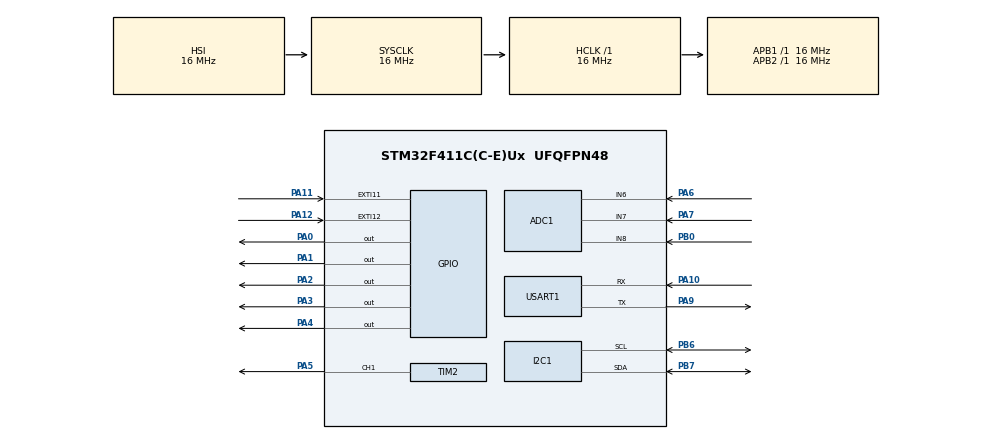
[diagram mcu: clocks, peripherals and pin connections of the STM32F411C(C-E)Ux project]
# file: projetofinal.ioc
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ADC1.Channel-0\#ChannelRegularConversion=ADC_CHANNEL_6
ADC1.Channel-1\#ChannelRegularConversion=ADC_CHANNEL_6
ADC1.Channel-2\#ChannelRegularConversion=ADC_CHANNEL_6
ADC1.ContinuousConvMode=ENABLE
ADC1.NbrOfConversion=3
ADC1.NbrOfConversionFlag=1
ADC1.Rank-0\#ChannelRegularConversion=1
ADC1.Rank-1\#ChannelRegularConversion=2
ADC1.Rank-2\#ChannelRegularConversion=3
ADC1.SamplingTime-0\#ChannelRegularConversion=ADC_SAMPLETIME_3CYCLES
ADC1.SamplingTime-1\#ChannelRegularConversion=ADC_SAMPLETIME_3CYCLES
ADC1.SamplingTime-2\#ChannelRegularConversion=ADC_SAMPLETIME_3CYCLES
ADC1.ScanConvMode=ENABLE
ADC1.master=1
Mcu.Family=STM32F4
Mcu.Name=STM32F411C(C-E)Ux
Mcu.Package=UFQFPN48
NVIC.EXTI15_10_IRQn=true\:0\:0\:false\:false\:true\:true\:true\:true
NVIC.PriorityGroup=NVIC_PRIORITYGROUP_4
PA0-WKUP.Signal=GPIO_Output
PA1.Signal=GPIO_Output
PA10.Mode=Asynchronous
PA10.Signal=USART1_RX
PA11.GPIO_PuPd=GPIO_PULLUP
PA11.Signal=GPXTI11
PA12.GPIO_PuPd=GPIO_PULLUP
PA12.Signal=GPXTI12
PA13.Mode=Serial_Wire
PA13.Signal=SYS_JTMS-SWDIO
PA14.Mode=Serial_Wire
PA14.Signal=SYS_JTCK-SWCLK
PA2.Signal=GPIO_Output
PA3.Signal=GPIO_Output
PA4.Signal=GPIO_Output
PA5.Signal=S_TIM2_CH1_ETR
PA6.Signal=ADCx_IN6
PA7.Signal=ADCx_IN7
PA9.Mode=Asynchronous
PA9.Signal=USART1_TX
PB0.Signal=ADCx_IN8
PB6.Mode=I2C
PB6.Signal=I2C1_SCL
PB7.Mode=I2C
PB7.Signal=I2C1_SDA
PH0\ -\ OSC_IN.Mode=HSE-External-Clock-Source
PH0\ -\ OSC_IN.Signal=RCC_OSC_IN
PH1\ -\ OSC_OUT.Mode=HSE-External-Clock-Source
PH1\ -\ OSC_OUT.Signal=RCC_OSC_OUT
ProjectManager.HeapSize=0x200
ProjectManager.StackSize=0x400
ProjectManager.TargetToolchain=STM32CubeIDE
RCC.AHBFreq_Value=16000000
RCC.APB1Freq_Value=16000000
RCC.APB2Freq_Value=16000000
RCC.CortexFreq_Value=16000000
RCC.HSE_VALUE=25000000
RCC.HSI_VALUE=16000000
RCC.LSE_VALUE=32768
RCC.SYSCLKFreq_VALUE=16000000
RCC.VCOOutputFreq_Value=192000000
SH.ADCx_IN6.0=ADC1_IN6,IN6
SH.ADCx_IN7.0=ADC1_IN7,IN7
SH.ADCx_IN8.0=ADC1_IN8,IN8
SH.S_TIM2_CH1_ETR.0=TIM2_CH1,PWM Generation1 CH1
TIM2.Channel-PWM\ Generation1\ CH1=TIM_CHANNEL_1
TIM2.Period=999
TIM2.Prescaler=83
USART1.VirtualMode=VM_ASYNC
board=custom

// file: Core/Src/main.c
/* USER CODE BEGIN Header */
/**
  ******************************************************************************
  * @file           : main.c
  * @brief          : Main program body
  ******************************************************************************
  * @attention
  *
  * Copyright (c) 2025 STMicroelectronics.
  * All rights reserved.
  *
  * This software is licensed under terms that can be found in the LICENSE file
  * in the root directory of this software component.
  * If no LICENSE file comes with this software, it is provided AS-IS.
  *
  ******************************************************************************
  */
/* USER CODE END Header */
#include "main.h"

/* USER CODE BEGIN Includes */

#include <stdio.h>
#include <string.h>

// Definição dos LEDs (Ajustado para o hardware configurado PA0-PA4)
#define LED_TEMP_ALTA    GPIO_PIN_0
#define LED_TEMP_BAIXA   GPIO_PIN_1
#define LED_COMPRESSOR   GPIO_PIN_2
#define LED_NORMAL       GPIO_PIN_3
#define LED_ERRO         GPIO_PIN_4

/* USER CODE END Includes */

ADC_HandleTypeDef hadc1;

I2C_HandleTypeDef hi2c1;

TIM_HandleTypeDef htim2;

UART_HandleTypeDef huart1;

/* USER CODE BEGIN PV */

typedef enum {
    ST_EMESPERA, ST_LENDO, ST_PROCESSANDO, ST_CONTROLE,
    ST_DISPLAY, ST_PROTECAO, ST_MENU, ST_EXIBIR_CELSIUS,
    ST_EXIBIR_FAHRENHEIT, ST_EXIBIR_KELVIN, ST_ZERAR_TEMP, ST_ERRO
} state_t;

state_t estado_atual = ST_EMESPERA;

float tensao1, tensao2, tensao3;
float temperatura_realc, temperatura_idealc, gap_temperaturac;
float temperaturaidealk, temperatura_idealf;
float offset_temperatura = 0.0;

uint32_t adc1, adc2, adc3;
uint8_t opcao_menu = 0;
uint8_t tela_atual = 0;
uint8_t compressor_ligado = 0;
uint16_t pwm_compressor = 0;
uint8_t unidade_temperatura = 0;  // 0=Celsius, 1=Fahrenheit, 2=Kelvin

uint32_t timer1 = 0;
uint32_t timer2 = 0;

/* USER CODE END PV */

void SystemClock_Config(void);
static void MX_GPIO_Init(void);
static void MX_ADC1_Init(void);
static void MX_TIM2_Init(void);
static void MX_USART1_UART_Init(void);
static void MX_I2C1_Init(void);

/* USER CODE BEGIN 0 */

// Redireciona o printf para a porta serial (UART)
int __io_putchar(int ch) {
    HAL_UART_Transmit(&huart1, (uint8_t *)&ch, 1, 10);
    return ch;
}

// ========== FUNÇÕES DO LCD ==========
void lcd_send_cmd(char cmd)
{
    char data_u, data_l;
    uint8_t data_t[4];
    data_u = (cmd & 0xf0);
    data_l = ((cmd << 4) & 0xf0);
    data_t[0] = data_u | 0x0C;
    data_t[1] = data_u | 0x08;
    data_t[2] = data_l | 0x0C;
    data_t[3] = data_l | 0x08;
    HAL_I2C_Master_Transmit(&hi2c1, 0x4E, (uint8_t *)data_t, 4, 100);
}

void lcd_send_data(char data)
{
    char data_u, data_l;
    uint8_t data_t[4];
    data_u = (data & 0xf0);
    data_l = ((data << 4) & 0xf0);
    data_t[0] = data_u | 0x0D;
    data_t[1] = data_u | 0x09;
    data_t[2] = data_l | 0x0D;
    data_t[3] = data_l | 0x09;
    HAL_I2C_Master_Transmit(&hi2c1, 0x4E, (uint8_t *)data_t, 4, 100);
}

void lcd_init(void)
{
    HAL_Delay(50);
    lcd_send_cmd(0x30);
    HAL_Delay(5);
    lcd_send_cmd(0x30);
    HAL_Delay(1);
    lcd_send_cmd(0x30);
    HAL_Delay(10);
    lcd_send_cmd(0x20);
    HAL_Delay(10);
    lcd_send_cmd(0x28);
    HAL_Delay(1);
    lcd_send_cmd(0x08);
    HAL_Delay(1);
    lcd_send_cmd(0x01);
    HAL_Delay(1);
    HAL_Delay(1);
    lcd_send_cmd(0x06);
    HAL_Delay(1);
    lcd_send_cmd(0x0C);
}

void lcd_send_string(char *str)
{
    while (*str)
        lcd_send_data(*str++);
}

void lcd_clear(void)
{
    lcd_send_cmd(0x01);
    HAL_Delay(2);
}

void lcd_put_cur(int row, int col)
{
    switch (row)
    {
        case 0:
            col |= 0x80;
            break;
        case 1:
            col |= 0xC0;
            break;
    }
    lcd_send_cmd(col);
}

/* USER CODE END 0 */

int main(void)
{

  /* MCU Configuration--------------------------------------------------------*/

  /* Reset of all peripherals, Initializes the Flash interface and the Systick. */
  HAL_Init();

  /* USER CODE BEGIN Init */

  /* Configure the system clock */
  SystemClock_Config();

  /* Initialize all configured peripherals */
  MX_GPIO_Init();
  MX_ADC1_Init();
  MX_TIM2_Init();
  MX_USART1_UART_Init();
  MX_I2C1_Init();
  /* USER CODE BEGIN 2 */

  HAL_TIM_PWM_Start(&htim2, TIM_CHANNEL_1);
  printf("Sistema Iniciado...\n");

  lcd_init();
  lcd_clear();
  printf("LCD Inicializado!\n");

  /* USER CODE END 2 */

  /* Infinite loop */
  while (1)
  {

    /* USER CODE BEGIN 3 */

    // Incrementa temporizadores
    timer1++;
    timer2++;

    switch (estado_atual)
    {
        case ST_EMESPERA:
            estado_atual = ST_LENDO;
            break;

        case ST_LENDO:
            if (timer1 >= 50) {
                timer1 = 0;

                // --- Canal 6 (PA6) ---
                ADC_ChannelConfTypeDef sConfig = {0};
                sConfig.Rank = 1;
                sConfig.SamplingTime = ADC_SAMPLETIME_480CYCLES; // Tempo maior!
                sConfig.Channel = ADC_CHANNEL_6;
                HAL_ADC_ConfigChannel(&hadc1, &sConfig);

                HAL_ADC_Start(&hadc1);
                HAL_ADC_PollForConversion(&hadc1, 100);
                adc1 = HAL_ADC_GetValue(&hadc1);
                HAL_ADC_Stop(&hadc1);

                // --- Canal 7 (PA7) ---
                sConfig.Channel = ADC_CHANNEL_7;
                HAL_ADC_ConfigChannel(&hadc1, &sConfig); // Reconfigura para o próximo canal

                HAL_ADC_Start(&hadc1);
                HAL_ADC_PollForConversion(&hadc1, 100);
                adc2 = HAL_ADC_GetValue(&hadc1);
                HAL_ADC_Stop(&hadc1);

                // --- Canal 8 (PB0) ---
                sConfig.Channel = ADC_CHANNEL_8;
                HAL_ADC_ConfigChannel(&hadc1, &sConfig);

                HAL_ADC_Start(&hadc1);
                HAL_ADC_PollForConversion(&hadc1, 100);
                adc3 = HAL_ADC_GetValue(&hadc1);
                HAL_ADC_Stop(&hadc1);

                tensao1 = (float)adc1;
                tensao2 = (float)adc2;
                tensao3 = (float)adc3;
            }
            estado_atual = ST_PROCESSANDO;
            break;

        case ST_PROCESSANDO:
            // Conversão com lógica de calibração
            temperatura_realc   = (tensao1 / 4095.0) * 100.0 - offset_temperatura;
            temperatura_idealc  = (tensao2 / 4095.0) * 100.0;
            gap_temperaturac    = (tensao3 / 4095.0) * 100.0;

            temperatura_idealf  = (temperatura_idealc * 9.0/5.0) + 32.0;
            temperaturaidealk   = temperatura_idealc + 273.15;

            estado_atual = ST_CONTROLE;
            break;

        case ST_CONTROLE:
            HAL_GPIO_WritePin(GPIOA, LED_TEMP_ALTA, 0);
            HAL_GPIO_WritePin(GPIOA, LED_TEMP_BAIXA, 0);
            HAL_GPIO_WritePin(GPIOA, LED_COMPRESSOR, 0);
            HAL_GPIO_WritePin(GPIOA, LED_NORMAL, 0);
            HAL_GPIO_WritePin(GPIOA, LED_ERRO, 0);

            if (timer2 >= 50) // Loop de controle lento
            {
                timer2 = 0;
                if (temperatura_realc > temperatura_idealc + gap_temperaturac){
                    HAL_GPIO_WritePin(GPIOA, LED_TEMP_ALTA, 1);
                    HAL_GPIO_WritePin(GPIOA, LED_COMPRESSOR, 1);
                    pwm_compressor = 100;
                    compressor_ligado = 1;
                }
                else if (temperatura_realc < temperatura_idealc - gap_temperaturac){
                    HAL_GPIO_WritePin(GPIOA, LED_TEMP_BAIXA, 1);
                    pwm_compressor = 0;
                    compressor_ligado = 0;
                }
                else {
                    HAL_GPIO_WritePin(GPIOA, LED_NORMAL, 1);
                    float diferenca = temperatura_realc - temperatura_idealc;
                    if(diferenca < 0) diferenca = 0; // Proteção matemática
                    pwm_compressor = (uint16_t)((diferenca / (gap_temperaturac + 0.1)) * 100);
                    if (pwm_compressor > 100) pwm_compressor = 100;
                    compressor_ligado = (pwm_compressor > 10);
                }

                HAL_GPIO_WritePin(GPIOA, LED_COMPRESSOR, compressor_ligado ? 1 : 0);
                __HAL_TIM_SET_COMPARE(&htim2, TIM_CHANNEL_1, (pwm_compressor * 999) / 100);
            }
            estado_atual = ST_MENU;
            HAL_Delay(1);
            break;

        case ST_MENU:
            if (estado_atual == ST_MENU) estado_atual = ST_EXIBIR_CELSIUS;
            HAL_Delay(1);

            break;

        case ST_EXIBIR_CELSIUS:
        {
            // Converte floats para inteiros
            int temp_real_int, temp_ideal_int, gap_int, pwm_int;
            char lcd_buffer[16];
            char unidade_char[2] = "C";  // Padrão Celsius

            pwm_int = (int)pwm_compressor;

            // Seleciona a unidade e converte
            if (unidade_temperatura == 0) {
                // CELSIUS
                temp_real_int = (int)(temperatura_realc * 100);
                temp_ideal_int = (int)(temperatura_idealc * 100);
                gap_int = (int)(gap_temperaturac * 100);
                unidade_char[0] = 'C';
            }
            else if (unidade_temperatura == 1) {
                // FAHRENHEIT
                float temp_real_f = (temperatura_realc * 9.0/5.0) + 32.0;
                float temp_ideal_f = (temperatura_idealc * 9.0/5.0) + 32.0;
                float gap_f = (gap_temperaturac * 9.0/5.0);

                temp_real_int = (int)(temp_real_f * 100);
                temp_ideal_int = (int)(temp_ideal_f * 100);
                gap_int = (int)(gap_f * 100);
                unidade_char[0] = 'F';
            }
            else {  // unidade_temperatura == 2
                // KELVIN
                float temp_real_k = temperatura_realc + 273.15;
                float temp_ideal_k = temperatura_idealc + 273.15;
                float gap_k = gap_temperaturac;

                temp_real_int = (int)(temp_real_k * 100);
                temp_ideal_int = (int)(temp_ideal_k * 100);
                gap_int = (int)(gap_k * 100);
                unidade_char[0] = 'K';
            }

            // Exibe no LCD conforme a tela selecionada (tela_atual)
            if(tela_atual == 0) {
                lcd_clear();
                lcd_put_cur(0, 0);
                sprintf(lcd_buffer, "Real:%d.%02d%c", temp_real_int/100, temp_real_int%100, unidade_char[0]);
                lcd_send_string(lcd_buffer);

                lcd_put_cur(1, 0);
                sprintf(lcd_buffer, "Ideal:%d.%02d%c", temp_ideal_int/100, temp_ideal_int%100, unidade_char[0]);
                lcd_send_string(lcd_buffer);
            }
            else if(tela_atual == 1) {
                lcd_clear();
                lcd_put_cur(0, 0);
                sprintf(lcd_buffer, "Gap:%d.%02d%c", gap_int/100, gap_int%100, unidade_char[0]);
                lcd_send_string(lcd_buffer);

                lcd_put_cur(1, 0);
                lcd_send_string("Press botoes");
            }
            else if(tela_atual == 2) {
                lcd_clear();
                lcd_put_cur(0, 0);
                sprintf(lcd_buffer, "PWM:%d%%", pwm_int);
                lcd_send_string(lcd_buffer);

                lcd_put_cur(1, 0);
                if (unidade_temperatura == 0) lcd_send_string("Celsius");
                else if (unidade_temperatura == 1) lcd_send_string("Fahrenheit");
                else lcd_send_string("Kelvin");
            }

            // Também imprime no serial para debug
            printf("Temp Real: %d.%02d%c | Ideal: %d.%02d%c\r\n",
                   temp_real_int/100, temp_real_int%100, unidade_char[0],
                   temp_ideal_int/100, temp_ideal_int%100, unidade_char[0]);

            HAL_Delay(50);
            estado_atual = ST_PROTECAO;
            break;
        }

        case ST_PROTECAO:
            if (temperatura_realc > 50.0 || temperatura_realc < -10.0) estado_atual = ST_ERRO;
            else estado_atual = ST_EMESPERA;
            break;

        case ST_ERRO:
        {
            HAL_GPIO_WritePin(GPIOA, LED_ERRO, 1);
            __HAL_TIM_SET_COMPARE(&htim2, TIM_CHANNEL_1, 0);

            // Converte temperatura para inteiro
            int temp_erro_int = (int)(temperatura_realc * 100);
            printf("termometro funcionando");

            if (temperatura_realc > temperatura_idealc + gap_temperaturac){
                                HAL_GPIO_WritePin(GPIOA, LED_TEMP_ALTA, 1);
                                HAL_GPIO_WritePin(GPIOA, LED_COMPRESSOR, 1);
                                pwm_compressor = 100;
                                compressor_ligado = 1;
                                lcd_clear();
                                lcd_put_cur(0, 0);
                                lcd_send_string("codigo");
                                lcd_put_cur(1, 0);
                                lcd_send_string("acima da temperatura");
                                HAL_Delay(500);
                            }
            else if (temperatura_realc < temperatura_idealc - gap_temperaturac){
                                HAL_GPIO_WritePin(GPIOA, LED_TEMP_BAIXA, 1);
                                pwm_compressor = 0;
                                compressor_ligado = 0;
                                lcd_clear();
                                lcd_put_cur(0, 0);
                                lcd_send_string("codigo");
                                lcd_put_cur(1, 0);
                                lcd_send_string("abaixo da temperatura");
                                HAL_Delay(500);
                            }

            HAL_Delay(1000);
            estado_atual = ST_EMESPERA;
            break;
        }

        default:
            estado_atual = ST_EMESPERA;
            break;
    }

  }
  /* USER CODE END 3 */
}

void SystemClock_Config(void)
{
  RCC_OscInitTypeDef RCC_OscInitStruct = {0};
  RCC_ClkInitTypeDef RCC_ClkInitStruct = {0};

  /** Configure the main internal regulator output voltage
  */
  __HAL_RCC_PWR_CLK_ENABLE();
  __HAL_PWR_VOLTAGESCALING_CONFIG(PWR_REGULATOR_VOLTAGE_SCALE1);

  /** Initializes the RCC Oscillators according to the specified parameters
  * in the RCC_OscInitTypeDef structure.
  */
  RCC_OscInitStruct.OscillatorType = RCC_OSCILLATORTYPE_HSI;
  RCC_OscInitStruct.HSIState = RCC_HSI_ON;
  RCC_OscInitStruct.HSICalibrationValue = RCC_HSICALIBRATION_DEFAULT;
  RCC_OscInitStruct.PLL.PLLState = RCC_PLL_NONE;
  if (HAL_RCC_OscConfig(&RCC_OscInitStruct) != HAL_OK)
  {
    Error_Handler();
  }

  /** Initializes the CPU, AHB and APB buses clocks
  */
  RCC_ClkInitStruct.ClockType = RCC_CLOCKTYPE_HCLK|RCC_CLOCKTYPE_SYSCLK
                              |RCC_CLOCKTYPE_PCLK1|RCC_CLOCKTYPE_PCLK2;
  RCC_ClkInitStruct.SYSCLKSource = RCC_SYSCLKSOURCE_HSI;
  RCC_ClkInitStruct.AHBCLKDivider = RCC_SYSCLK_DIV1;
  RCC_ClkInitStruct.APB1CLKDivider = RCC_HCLK_DIV1;
  RCC_ClkInitStruct.APB2CLKDivider = RCC_HCLK_DIV1;

  if (HAL_RCC_ClockConfig(&RCC_ClkInitStruct, FLASH_LATENCY_0) != HAL_OK)
  {
    Error_Handler();
  }
}

static void MX_ADC1_Init(void)
{

  ADC_ChannelConfTypeDef sConfig = {0};

  /** Configure the global features of the ADC (Clock, Resolution, Data Alignment and number of conversion)
  */
  hadc1.Instance = ADC1;
  hadc1.Init.ClockPrescaler = ADC_CLOCK_SYNC_PCLK_DIV2;
  hadc1.Init.Resolution = ADC_RESOLUTION_12B;
  hadc1.Init.ScanConvMode = ENABLE;
  hadc1.Init.ContinuousConvMode = ENABLE;
  hadc1.Init.DiscontinuousConvMode = DISABLE;
  hadc1.Init.ExternalTrigConvEdge = ADC_EXTERNALTRIGCONVEDGE_NONE;
  hadc1.Init.ExternalTrigConv = ADC_SOFTWARE_START;
  hadc1.Init.DataAlign = ADC_DATAALIGN_RIGHT;
  hadc1.Init.NbrOfConversion = 3;
  hadc1.Init.DMAContinuousRequests = DISABLE;
  hadc1.Init.EOCSelection = ADC_EOC_SINGLE_CONV;
  if (HAL_ADC_Init(&hadc1) != HAL_OK)
  {
    Error_Handler();
  }

  /** Configure for the selected ADC regular channel its corresponding rank in the sequencer and its sample time.
  */
  sConfig.Channel = ADC_CHANNEL_6;
  sConfig.Rank = 1;
  sConfig.SamplingTime = ADC_SAMPLETIME_15CYCLES;
  if (HAL_ADC_ConfigChannel(&hadc1, &sConfig) != HAL_OK)
  {
    Error_Handler();
  }

  /** Configure for the selected ADC regular channel its corresponding rank in the sequencer and its sample time.
  */
  sConfig.Channel = ADC_CHANNEL_7;
  sConfig.Rank = 2;
  sConfig.SamplingTime = ADC_SAMPLETIME_15CYCLES;
  if (HAL_ADC_ConfigChannel(&hadc1, &sConfig) != HAL_OK)
  {
    Error_Handler();
  }

  /** Configure for the selected ADC regular channel its corresponding rank in the sequencer and its sample time.
  */
  sConfig.Channel = ADC_CHANNEL_8;
  sConfig.Rank = 3;
  sConfig.SamplingTime = ADC_SAMPLETIME_15CYCLES;
  if (HAL_ADC_ConfigChannel(&hadc1, &sConfig) != HAL_OK)
  {
    Error_Handler();
  }

}

static void MX_I2C1_Init(void)
{

  hi2c1.Instance = I2C1;
  hi2c1.Init.ClockSpeed = 100000;
  hi2c1.Init.DutyCycle = I2C_DUTYCYCLE_2;
  hi2c1.Init.OwnAddress1 = 0;
  hi2c1.Init.AddressingMode = I2C_ADDRESSINGMODE_7BIT;
  hi2c1.Init.DualAddressMode = I2C_DUALADDRESS_DISABLE;
  hi2c1.Init.OwnAddress2 = 0;
  hi2c1.Init.GeneralCallMode = I2C_GENERALCALL_DISABLE;
  hi2c1.Init.NoStretchMode = I2C_NOSTRETCH_DISABLE;
  if (HAL_I2C_Init(&hi2c1) != HAL_OK)
  {
    Error_Handler();
  }

}

static void MX_TIM2_Init(void)
{

  TIM_MasterConfigTypeDef sMasterConfig = {0};
  TIM_OC_InitTypeDef sConfigOC = {0};

  htim2.Instance = TIM2;
  htim2.Init.Prescaler = 83;
  htim2.Init.CounterMode = TIM_COUNTERMODE_UP;
  htim2.Init.Period = 999;
  htim2.Init.ClockDivision = TIM_CLOCKDIVISION_DIV1;
  htim2.Init.AutoReloadPreload = TIM_AUTORELOAD_PRELOAD_DISABLE;
  if (HAL_TIM_PWM_Init(&htim2) != HAL_OK)
  {
    Error_Handler();
  }
  sMasterConfig.MasterOutputTrigger = TIM_TRGO_RESET;
  sMasterConfig.MasterSlaveMode = TIM_MASTERSLAVEMODE_DISABLE;
  if (HAL_TIMEx_MasterConfigSynchronization(&htim2, &sMasterConfig) != HAL_OK)
  {
    Error_Handler();
  }
  sConfigOC.OCMode = TIM_OCMODE_PWM1;
  sConfigOC.Pulse = 0;
  sConfigOC.OCPolarity = TIM_OCPOLARITY_HIGH;
  sConfigOC.OCFastMode = TIM_OCFAST_DISABLE;
  if (HAL_TIM_PWM_ConfigChannel(&htim2, &sConfigOC, TIM_CHANNEL_1) != HAL_OK)
  {
    Error_Handler();
  }
  HAL_TIM_MspPostInit(&htim2);

}

static void MX_USART1_UART_Init(void)
{

  huart1.Instance = USART1;
  huart1.Init.BaudRate = 115200;
  huart1.Init.WordLength = UART_WORDLENGTH_8B;
  huart1.Init.StopBits = UART_STOPBITS_1;
  huart1.Init.Parity = UART_PARITY_NONE;
  huart1.Init.Mode = UART_MODE_TX_RX;
  huart1.Init.HwFlowCtl = UART_HWCONTROL_NONE;
  huart1.Init.OverSampling = UART_OVERSAMPLING_16;
  if (HAL_UART_Init(&huart1) != HAL_OK)
  {
    Error_Handler();
  }

}

static void MX_GPIO_Init(void)
{
  GPIO_InitTypeDef GPIO_InitStruct = {0};

  /* GPIO Ports Clock Enable */
  __HAL_RCC_GPIOH_CLK_ENABLE();
  __HAL_RCC_GPIOA_CLK_ENABLE();
  __HAL_RCC_GPIOB_CLK_ENABLE();

  /*Configure GPIO pin Output Level */
  HAL_GPIO_WritePin(GPIOA, GPIO_PIN_0|GPIO_PIN_1|GPIO_PIN_2|GPIO_PIN_3
                          |GPIO_PIN_4, GPIO_PIN_RESET);

  /*Configure GPIO pins : PA0 PA1 PA2 PA3
                           PA4 */
  GPIO_InitStruct.Pin = GPIO_PIN_0|GPIO_PIN_1|GPIO_PIN_2|GPIO_PIN_3
                          |GPIO_PIN_4;
  GPIO_InitStruct.Mode = GPIO_MODE_OUTPUT_PP;
  GPIO_InitStruct.Pull = GPIO_NOPULL;
  GPIO_InitStruct.Speed = GPIO_SPEED_FREQ_LOW;
  HAL_GPIO_Init(GPIOA, &GPIO_InitStruct);

  /*Configure GPIO pins : PA11 PA12 */
  GPIO_InitStruct.Pin = GPIO_PIN_11|GPIO_PIN_12;
  GPIO_InitStruct.Mode = GPIO_MODE_IT_FALLING;
  GPIO_InitStruct.Pull = GPIO_PULLUP;
  HAL_GPIO_Init(GPIOA, &GPIO_InitStruct);

  /* EXTI interrupt init*/
  HAL_NVIC_SetPriority(EXTI15_10_IRQn, 0, 0);
  HAL_NVIC_EnableIRQ(EXTI15_10_IRQn);

}

/* USER CODE BEGIN 4 */
void HAL_GPIO_EXTI_Callback(uint16_t GPIO_Pin)
{
    if (GPIO_Pin == GPIO_PIN_11)
    {
        // Acende todos os LEDs
        HAL_GPIO_WritePin(GPIOA,
                          GPIO_PIN_0 | GPIO_PIN_1 | GPIO_PIN_2 |
                          GPIO_PIN_3 | GPIO_PIN_4,
                          GPIO_PIN_SET);

        lcd_clear();
        HAL_Delay(500);

        // ➤ Travamento proposital: loop infinito
        while (1)
        {
            // travado
        }
    }

    if (GPIO_Pin == GPIO_PIN_12)
    {
        unidade_temperatura++;
        if (unidade_temperatura > 2)
            unidade_temperatura = 0;
    }
}

/* USER CODE END 4 */

void Error_Handler(void)
{
  __disable_irq();
  while (1)
  {
  }
}
